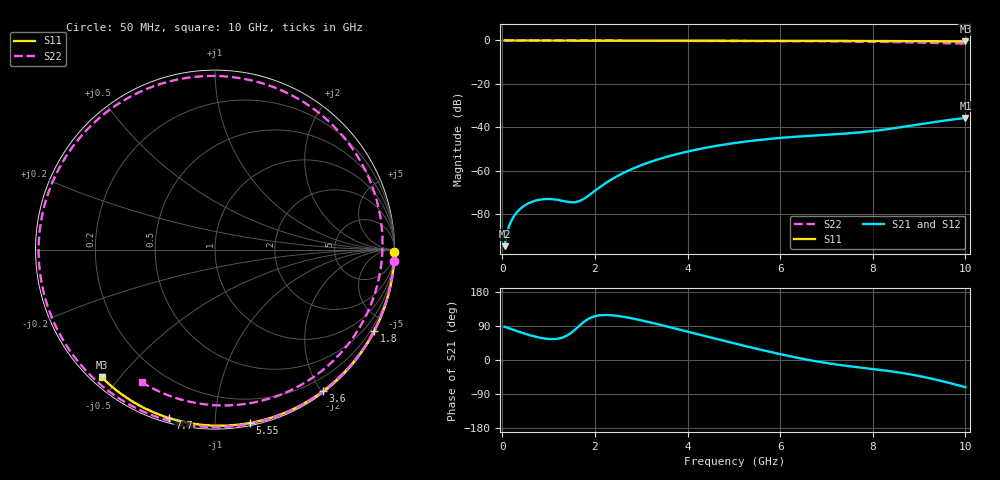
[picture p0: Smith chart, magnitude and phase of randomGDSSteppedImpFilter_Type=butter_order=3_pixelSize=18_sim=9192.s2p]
! freq	dB(S11)	phase(S11)	dB(S12)	phase(S12)
!  dB(S21)	phase(S21)	dB(S22)	phase(S22)
!S-par simulation data
#  GHz  S  DB  R 50
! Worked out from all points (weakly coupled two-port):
!   200 points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, 50 MHz to 10 GHz, reference 50 ohm
!   highest |S21| = -35.73 dB at 10 GHz (marker M1); lowest = -94.8 dB at 50 MHz (marker M2)
!   lowest |S11| = -0.4 dB at 10 GHz (marker M3), VSWR 39.52, Z = 1.52 - j22.5 ohm
!   |S11| at or under -10 dB: nowhere
!   |S22| runs from -1.5 to 0.0 dB; largest |S21 - S12| = 0
!   S11 on the Smith chart (normalised r, x): 50 MHz: open; 1.8 GHz: 0.04, -4.17; 3.6 GHz: 0.02, -2.02; 5.55 GHz: 0.02, -1.22; 7.7 GHz: 0.02, -0.77; 10 GHz: 0.03, -0.45
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0.05  -0.00 -0.8  -94.81 87.8  -94.81 87.8  -0.00 -3.8
0.3  -0.01 -4.6  -79.61 77.0  -79.61 77.0  -0.03 -22.2
0.45  -0.01 -6.8  -76.55 70.9  -76.55 70.9  -0.05 -33.0
0.9  -0.02 -13.6  -73.13 56.9  -73.13 56.9  -0.08 -63.6
1.3  -0.02 -19.6  -73.91 59.2  -73.91 59.2  -0.09 -87.8
1.75  -0.03 -26.2  -73.14 99.5  -73.14 99.5  -0.11 -111.7
1.8  -0.03 -27.0  -72.47 104.0  -72.47 104.0  -0.11 -114.1
2.55  -0.05 -37.9  -61.78 115.4  -61.78 115.4  -0.13 -147.1
3.4  -0.07 -49.9  -54.57 93.2  -54.57 93.2  -0.15 -178.8
3.6  -0.07 -52.7  -53.33 87.1  -53.33 87.1  -0.16 174.3
4.3  -0.09 -62.3  -49.85 65.6  -49.85 65.6  -0.18 150.5
5.05  -0.11 -72.3  -47.18 42.7  -47.18 42.7  -0.22 124.9
5.55  -0.13 -78.7  -45.85 28.0  -45.85 28.0  -0.25 107.0
6.15  -0.15 -86.3  -44.66 11.5  -44.66 11.5  -0.30 84.2
6.7  -0.18 -93.1  -43.86 -1.7  -43.86 -1.7  -0.36 61.3
7.2  -0.21 -99.2  -43.22 -11.6  -43.22 -11.6  -0.43 38.8
7.7  -0.24 -105.1  -42.41 -19.5  -42.41 -19.5  -0.53 14.3
8.35  -0.29 -112.7  -40.79 -29.1  -40.79 -29.1  -0.72 -20.4
8.8  -0.32 -117.9  -39.35 -37.6  -39.35 -37.6  -0.89 -45.9
9.2  -0.36 -122.5  -38.02 -47.3  -38.02 -47.3  -1.07 -69.6
9.6  -0.40 -127.1  -36.78 -58.8  -36.78 -58.8  -1.27 -93.9
10  -0.44 -131.6  -35.73 -71.8  -35.73 -71.8  -1.47 -118.8
